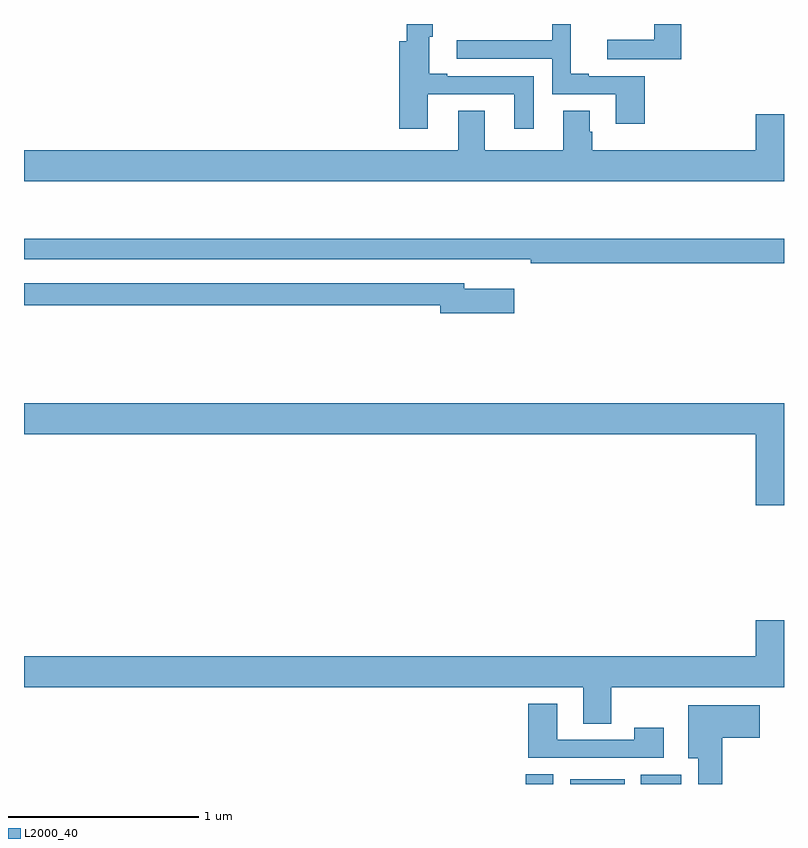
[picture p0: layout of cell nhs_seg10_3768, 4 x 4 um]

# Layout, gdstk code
import gdstk
lib = gdstk.Library(unit=1e-6, precision=1e-09)
def R(c, l, rs):  # rectangles x0, y0, x1, y1
    for r in rs: c.add(gdstk.rectangle(r[:2], r[2:], *l))
def P(c, l, *ps):  # polygons
    for p in ps: c.add(gdstk.Polygon(p, *l))
L2000_40 = (2000, 40)

nhs_seg10_3768 = lib.new_cell('nhs_seg10_3768')
R(nhs_seg10_3768, L2000_40, [(319.64,1274.5,319.786,1274.552), (319.874,1274.5,320.161,1274.524), (320.246,1274.5,320.458,1274.548)])
P(nhs_seg10_3768, L2000_40, [(320.459,1278.5),(320.318,1278.5),(320.318,1278.418),(320.07,1278.418),(320.07,1278.314),(320.459,1278.314)],
  [(320.267,1278.225),(319.972,1278.225),(319.972,1278.238),(319.877,1278.238),(319.877,1278.5),(319.779,1278.5),(319.779,1278.414),(319.278,1278.414),(319.278,1278.318),(319.779,1278.318),(319.779,1278.129),(320.114,1278.129),(320.114,1277.976),(320.267,1277.976)],
  [(319.126,1278.129),(319.58,1278.129),(319.58,1277.949),(319.684,1277.949),(319.684,1278.225),(319.228,1278.225),(319.228,1278.238),(319.132,1278.238),(319.132,1278.434),(319.15,1278.434),(319.15,1278.5),(319.014,1278.5),(319.014,1278.409),(318.974,1278.409),(318.974,1277.949),(319.126,1277.949)],
  [(321,1278.025),(320.852,1278.025),(320.852,1277.836),(319.991,1277.836),(319.991,1277.934),(319.978,1277.934),(319.978,1278.044),(319.838,1278.044),(319.838,1277.836),(319.426,1277.836),(319.426,1278.044),(319.286,1278.044),(319.286,1277.836),(317,1277.836),(317,1277.672),(321,1277.672)],
  [(321,1277.371),(317,1277.371),(317,1277.262),(319.414,1277.262),(319.414,1277.261),(319.666,1277.261),(319.666,1277.242),(321,1277.242)],
  [(319.579,1277.107),(319.318,1277.107),(319.318,1277.136),(317,1277.136),(317,1277.02),(319.19,1277.02),(319.19,1276.978),(319.579,1276.978)],
  [(321,1276.504),(317,1276.504),(317,1276.34),(320.852,1276.34),(320.852,1275.966),(321,1275.966)],
  [(321,1275.361),(320.852,1275.361),(320.852,1275.172),(317,1275.172),(317,1275.008),(319.943,1275.008),(319.943,1274.818),(320.091,1274.818),(320.091,1275.008),(321,1275.008)],
  [(320.368,1274.797),(320.212,1274.797),(320.212,1274.733),(319.807,1274.733),(319.807,1274.923),(319.655,1274.923),(319.655,1274.637),(320.368,1274.637)],
  [(320.675,1274.744),(320.872,1274.744),(320.872,1274.914),(320.495,1274.914),(320.495,1274.636),(320.549,1274.636),(320.549,1274.5),(320.675,1274.5)])

lib.write_gds('nhs_seg10_3768.gds')
